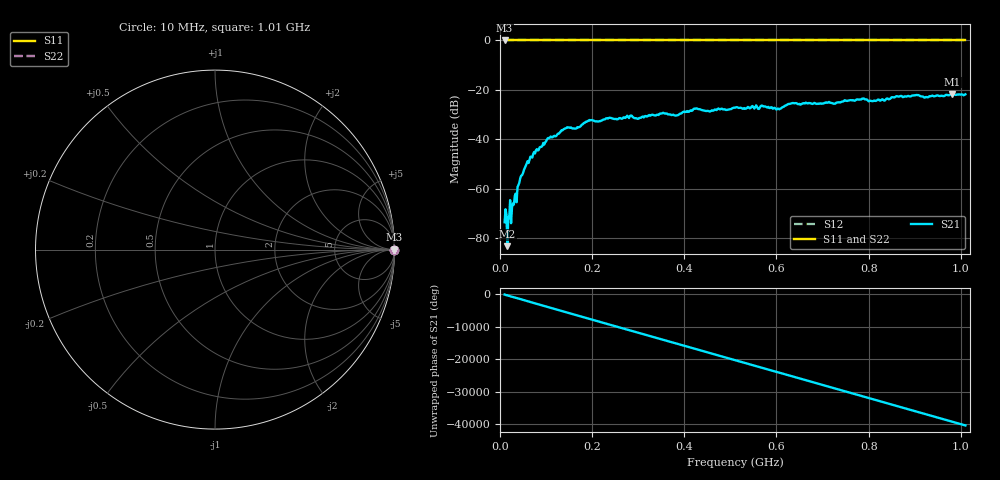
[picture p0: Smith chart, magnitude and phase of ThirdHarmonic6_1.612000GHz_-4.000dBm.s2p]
! 8/16/2025 7:14:04 PM
! C:\ANRITSUVNA\TEMP\TEMP.S2P
! CHANNEL.1
! TR.MEASUREMENT
! RAW.DATA
! RF.CORRECTION.OFF
! AVERAGING.OFF
! IF.BANDWIDTH: 5KHZ
! SWEEPTYPE:  FREQ.SWEEP(Linear)
! Reference Plane Port Info
! PORT:  PORT1  PORT2
! DISTANCE:  0  m  0  m
! TIME:  0  s  0  s
! PHASE.OFFSET:  0  deg.  0  deg.
! LOSS:  0  dB  0  dB
! REF.LOSS:  0  dB  0  dB
! REF.FREQ:  0  Hz  0  Hz
! Power Info
! POWER:  -20  dBm  -20  dBm
! EFF.POWER:  -20  dBm  -20  dBm
! SOURCE.ATTEN:  0  dB  0  dB
! TEST.ATTEN:  0  dB  0  dB
# GHZ S RI R 50.0
! FREQ.GHZ  S11RE  S11IM  S21RE  S21IM  S12RE  S12IM  S22RE  S22IM
!; PortSelection: Port_12
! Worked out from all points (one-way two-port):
!   501 points, 10 MHz to 1.01 GHz, reference 50 ohm
!   highest |S21| = -21.63 dB at 982 MHz (marker M1); lowest = -83.3 dB at 16 MHz (marker M2)
!   lowest |S11| = 0.0 dB at 10 MHz (marker M3)
!   |S11| at or under -10 dB: nowhere
!   |S22| runs from 0.0 to 0.0 dB; largest |S21 - S12| = 1.1
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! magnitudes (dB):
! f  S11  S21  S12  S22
! 10 MHz  0.0  -73.6  0.0  0.0
! 12 MHz  0.0  -68.4  0.0  0.0
! 16 MHz  0.0  -83.3  0.0  0.0
! 20 MHz  0.0  -72.0  0.0  0.0
! 22 MHz  0.0  -64.7  0.0  0.0
! 28 MHz  0.0  -66.0  0.0  0.0
! 30 MHz  0.0  -66.5  0.0  0.0
! 48 MHz  0.0  -54.6  0.0  0.0
! 76 MHz  0.0  -45.8  0.0  0.0
! 106 MHz  0.0  -39.5  0.0  0.0
! 138 MHz  0.0  -36.0  0.0  0.0
! 178 MHz  0.0  -34.1  0.0  0.0
! 196 MHz  0.0  -32.4  0.0  0.0
! 344 MHz  0.0  -30.2  0.0  0.0
! 382 MHz  0.0  -30.5  0.0  0.0
! 510 MHz  0.0  -27.2  0.0  0.0
! 604 MHz  0.0  -27.6  0.0  0.0
! 634 MHz  0.0  -25.4  0.0  0.0
! 678 MHz  0.0  -25.7  0.0  0.0
! 844 MHz  0.0  -23.9  0.0  0.0
! 982 MHz  0.0  -21.6  0.0  0.0
! 1.01 GHz  0.0  -21.8  0.0  0.0
